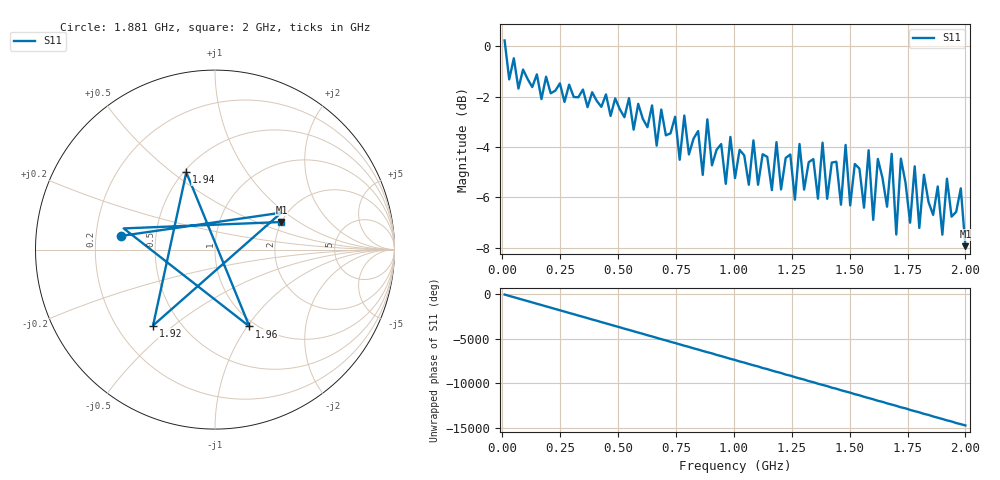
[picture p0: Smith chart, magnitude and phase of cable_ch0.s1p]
# HZ S RI R 50
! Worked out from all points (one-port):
!   101 points, 10 MHz to 2 GHz, reference 50 ohm
!   lowest |S11| = -7.9 dB at 2 GHz (marker M1), VSWR 2.34, Z = 99.9 + j36.6 ohm
!   |S11| at or under -10 dB: nowhere
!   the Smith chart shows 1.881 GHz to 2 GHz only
!   S11 on the Smith chart (normalised r, x): 1.881 GHz: 0.31, +0.07; 1.92 GHz: 0.35, -0.43; 1.94 GHz: 0.52, +0.56; 1.96 GHz: 0.93, -1.02; 2 GHz: 2.00, +0.73
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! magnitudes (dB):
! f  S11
! 10 MHz  0.2
! 268.7 MHz  -2.2
! 507.5 MHz  -2.5
! 766.2 MHz  -4.5
! 786.1 MHz  -2.8
! 865.7 MHz  -5.1
! 885.6 MHz  -2.9
! 1.005 GHz  -5.2
! 1.184 GHz  -3.8
! 1.264 GHz  -6.1
! 1.383 GHz  -3.8
! 1.463 GHz  -6.3
! 1.483 GHz  -3.9
! 1.502 GHz  -6.3
! 1.582 GHz  -4.1
! 1.662 GHz  -6.4
! 1.682 GHz  -4.3
! 1.702 GHz  -7.5
! 1.721 GHz  -4.5
! 1.761 GHz  -7.0
! 1.781 GHz  -4.8
! 1.801 GHz  -7.2
! 1.881 GHz  -5.6
! 1.901 GHz  -7.5
! 1.92 GHz  -5.3
! 1.94 GHz  -6.8
! 1.96 GHz  -6.6
! 2 GHz  -7.9
